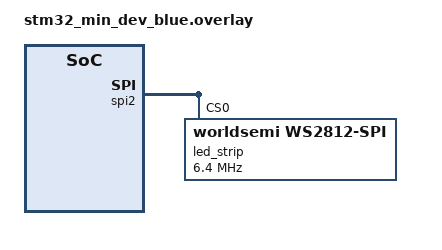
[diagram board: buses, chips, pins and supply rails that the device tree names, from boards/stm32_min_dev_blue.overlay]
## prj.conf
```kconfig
CONFIG_LOG=y
CONFIG_LED_STRIP=y
CONFIG_LED_STRIP_LOG_LEVEL_DBG=y
CONFIG_WS2812_STRIP=y
CONFIG_ENTROPY_GENERATOR=y
CONFIG_TEST_RANDOM_GENERATOR=y
```

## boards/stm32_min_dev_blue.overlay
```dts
/*
 * Copyright (c) 2021, STMicroelectronics
 *
 * SPDX-License-Identifier: Apache-2.0
 */

#include <zephyr/dt-bindings/led/led.h>

&spi2 {
	led_strip: ws2812@0 {
		compatible = "worldsemi,ws2812-spi";

		/* SPI */
		reg = <0>; /* ignored, but necessary for SPI bindings */
		spi-max-frequency = <6400000>;

		/* WS2812 */
		chain-length = <50>; /* arbitrary; change at will */
		spi-cpha;
		spi-one-frame = <0xf0>; /* 11110000: 625 ns high and 625 ns low */
		spi-zero-frame = <0xc0>; /* 11000000: 312.5 ns high and 937.5 ns low */
		color-mapping = <LED_COLOR_ID_GREEN
				 LED_COLOR_ID_RED
				 LED_COLOR_ID_BLUE>;
	};
};

/ {
	aliases {
		led-strip = &led_strip;
	};
};
```

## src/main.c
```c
/*
 * Copyright (c) 2017 Linaro Limited
 * Copyright (c) 2018 Intel Corporation
 *
 * SPDX-License-Identifier: Apache-2.0
 */

#include <errno.h>
#include <string.h>

#define LOG_LEVEL 4
#include <zephyr/logging/log.h>
LOG_MODULE_REGISTER(main);

#include <zephyr/kernel.h>
#include <zephyr/drivers/led_strip.h>
#include <zephyr/device.h>
#include <zephyr/drivers/spi.h>
#include <zephyr/sys/util.h>
#include <zephyr/random/rand32.h>

#define STRIP_NODE		DT_ALIAS(led_strip)
#define STRIP_NUM_PIXELS	DT_PROP(DT_ALIAS(led_strip), chain_length)

#define DELAY_TIME K_MSEC(10)
#define TIKCS_MIN 1
#define TICKS_MAX 8
#define BRIGHTNESS_MIN 0x20
#define BRIGHTNESS_MAX 0x1ff
#define DELAY_MIN 3
#define DELAY_MAX 15
#define MAX_SPARKLES 100

#define RGB(_r, _g, _b) { .r = (_r), .g = (_g), .b = (_b) }

static const struct led_rgb basic_color = RGB(0x0f, 0x00, 0x16);

struct sparkle {
	struct led_rgb center_color;
	struct led_rgb side_color;
	uint8_t ticks;
	uint8_t now_ticks;
	int pos;
	bool active;
};

static const struct sparkle null_sparkle = {
	.center_color = basic_color,
	.side_color = basic_color,
	.ticks = 0,
	.now_ticks = 0,
	.pos = 0,
	.active = false
};

struct sparkle sparkles[MAX_SPARKLES];

struct led_rgb pixels[STRIP_NUM_PIXELS];

static const struct device *const strip = DEVICE_DT_GET(STRIP_NODE);

struct led_rgb color_from_brightness(uint16_t brightness, float coef) {
	uint8_t b = MIN(255, brightness);
	uint8_t r = MIN(255, brightness * coef);
	uint8_t g = MIN(255, MAX(0, brightness - 255));
	struct led_rgb res = RGB(r, g, b);
	return res;
}

void place_sparkle_in_array(struct sparkle sp) {
	for (int i=0; i<MAX_SPARKLES; i++){
		if(sparkles[i].active == false){
			memcpy(&sparkles[i], &sp, sizeof(struct sparkle));
			return;
		}
	}
}

void place_sparkle_in_strip(struct sparkle sp) {
	if(0 <= sp.pos - 1 && sp.pos - 1 < STRIP_NUM_PIXELS){
		memcpy(&pixels[sp.pos - 1], &sp.side_color, sizeof(struct led_rgb));
	}
	if(0 <= sp.pos && sp.pos < STRIP_NUM_PIXELS){
		memcpy(&pixels[sp.pos], &sp.center_color, sizeof(struct led_rgb));
	}
	if(0 <= sp.pos + 1 && sp.pos + 1 < STRIP_NUM_PIXELS){
		memcpy(&pixels[sp.pos + 1], &sp.side_color, sizeof(struct led_rgb));
	}
}

int main(void)
{
	int rc;
	uint8_t counter = 0;
	uint32_t rand;
	int i;
	uint8_t rand_ticks;
	uint8_t rand_delay;
	uint16_t rand_brightness;
	uint16_t interm_brightness;
	struct sparkle new_sparkle;

	if (device_is_ready(strip)) {
		LOG_INF("Found LED strip device %s", strip->name);
	} else {
		LOG_ERR("LED strip device %s is not ready", strip->name);
		return 0;
	}
    for (i=0; i<MAX_SPARKLES; i++) {
		memcpy(&sparkles[i], &null_sparkle, sizeof(struct sparkle));
	}
	LOG_INF("Displaying pattern on strip");
	float basic_coef = (float)basic_color.r / basic_color.b;
	while (1) {
		for (i=0; i<STRIP_NUM_PIXELS; i++) {
			memcpy(&pixels[i], &basic_color, sizeof(struct led_rgb));
		}
        if (counter == 0) {
			rand = sys_rand32_get();
            rand_ticks = rand;
			rand >>= 8;
			rand_delay = rand;
			rand >>= 8;
			rand_brightness = rand;
			rand_ticks = rand_ticks % (TICKS_MAX - TIKCS_MIN) + TIKCS_MIN;
			rand_delay = rand_delay % (DELAY_MAX - DELAY_MIN) + DELAY_MIN;
			rand_brightness = rand_brightness % (BRIGHTNESS_MAX - BRIGHTNESS_MIN) + BRIGHTNESS_MIN;
			interm_brightness = (rand_brightness + basic_color.b) / 2;
			new_sparkle.center_color = color_from_brightness(rand_brightness, basic_coef);
			new_sparkle.side_color = color_from_brightness(interm_brightness, basic_coef);
			new_sparkle.ticks = rand_ticks;
			new_sparkle.now_ticks = rand_ticks;
			new_sparkle.pos = 0;
			new_sparkle.active = true;
			place_sparkle_in_array(new_sparkle);
			counter = rand_delay;
		}
		for (i=0; i<MAX_SPARKLES; i++) {
			if (sparkles[i].active) {
			    place_sparkle_in_strip(sparkles[i]);
			    sparkles[i].now_ticks--;
			    if (sparkles[i].now_ticks == 0) {
				    sparkles[i].pos++;
                    sparkles[i].now_ticks = sparkles[i].ticks;
					if (sparkles[i].pos > STRIP_NUM_PIXELS) {
						sparkles[i].active = false;
					}
			    }
			}
		}
		rc = led_strip_update_rgb(strip, pixels, STRIP_NUM_PIXELS);

		if (rc) {
			LOG_ERR("couldn't update strip: %d", rc);
		}

		counter--;

		k_sleep(DELAY_TIME);
	}
	return 0;
}
```
